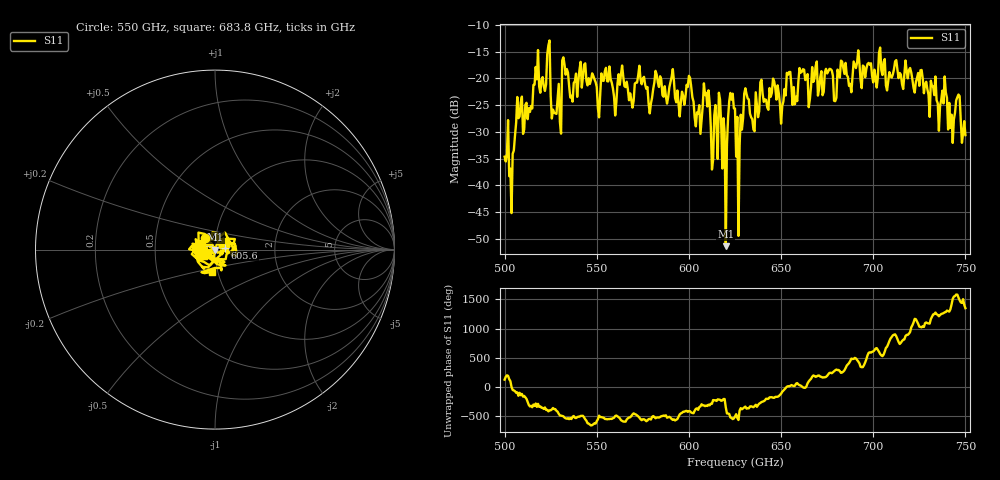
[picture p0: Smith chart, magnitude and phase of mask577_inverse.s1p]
!Created with skrf (http://scikit-rf.org).
# GHz S MA R 50.0
!freq magS11 angS11
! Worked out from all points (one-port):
!   401 points, 500 GHz to 750 GHz, reference 50 ohm
!   lowest |S11| = -51.4 dB at 620 GHz (marker M1), VSWR 1.01, Z = 50.3 + j0.0379 ohm
!   |S11| at or under -10 dB: start of sweep to end of sweep
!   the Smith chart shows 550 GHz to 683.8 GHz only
!   S11 on the Smith chart (normalised r, x): 550 GHz: 0.89, +0.12; 605.6 GHz: 1.12, +0.03; 683.8 GHz: 0.93, -0.24
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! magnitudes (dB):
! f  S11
! 500 GHz  -34.6
! 503.8 GHz  -45.2
! 508.1 GHz  -27.1
! 513.8 GHz  -26.3
! 516.9 GHz  -17.8
! 523.8 GHz  -13.8
! 526.9 GHz  -26.4
! 531.2 GHz  -16.6
! 550 GHz  -21.6
! 562.5 GHz  -21.2
! 593.8 GHz  -22.3
! 600 GHz  -19.5
! 605.6 GHz  -25.0
! 609.4 GHz  -22.7
! 612.5 GHz  -37.0
! 617.5 GHz  -28.5
! 620 GHz  -51.4
! 622.5 GHz  -22.7
! 625 GHz  -25.6
! 626.9 GHz  -49.5
! 631.2 GHz  -22.9
! 634.4 GHz  -27.6
! 656.2 GHz  -24.9
! 683.8 GHz  -18.0
! 687.5 GHz  -21.0
! 718.8 GHz  -20.0
! 745.6 GHz  -23.5
! 750 GHz  -30.6
